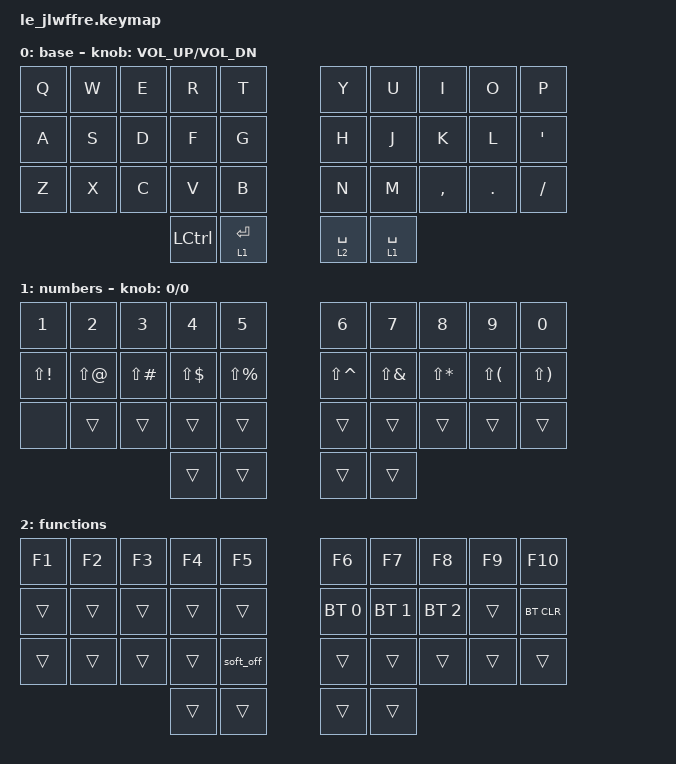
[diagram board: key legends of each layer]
/*
 * Copyright (c) 2022 The ZMK Contributors
 *
 * SPDX-License-Identifier: MIT
 */

#include <behaviors.dtsi>
#include <dt-bindings/zmk/bt.h>
#include <dt-bindings/zmk/keys.h>

/ {
    combos {
        compatible = "zmk,combos";

        combo_backspace {
            bindings = <&kp BACKSPACE>;
            key-positions = <9 8>;
        };

        combo_esc {
            bindings = <&kp ESCAPE>;
            key-positions = <0 1>;
        };

        combo_tab {
            bindings = <&kp TAB>;
            key-positions = <10 11>;
        };

        combo_ctrl_z {
            bindings = <&kp LC(Z)>;
            key-positions = <21 20>;
        };

        combo_ctrl_x {
            bindings = <&kp LC(X)>;
            key-positions = <21 22>;
        };

        combo_ctrl_c {
            bindings = <&kp LC(C)>;
            key-positions = <22 23>;
        };

        combo_ctrl_v {
            bindings = <&kp LC(V)>;
            key-positions = <23 24>;
        };

        combo_ctrl_a {
            bindings = <&kp LC(A)>;
            key-positions = <10 21>;
        };

        combo_soft_off {
            timeout-ms = <50>;
            key-positions = <0 9>;
            layers = <2>;
            bindings = <&soft_off>;
        };

        Shift {
            bindings = <&kp LEFT_SHIFT>;
            key-positions = <32 31>;
        };
    };

    keymap {
        compatible = "zmk,keymap";

        base {
            bindings = <
&kp Q      &kp W      &kp E        &kp R        &kp T  &kp Y  &kp U  &kp I      &kp O    &kp P
&kp A      &kp S      &kp D        &kp F        &kp G  &kp H  &kp J  &kp K      &kp L    &kp SQT
&kp Z      &kp X      &kp C        &kp V        &kp B  &kp N  &kp M  &kp COMMA  &kp DOT  &kp FSLH
&kp LCTRL  &lt 1 RET  &lt 2 SPACE  &lt 1 SPACE
            >;

            sensor-bindings = <&inc_dec_kp C_VOL_UP C_VOL_DN>;
        };

        numbers {
            bindings = <
&kp N1        &kp N2      &kp N3         &kp N4        &kp N5         &kp N6         &kp N7        &kp N8        &kp N9        &kp N0
&kp LS(EXCL)  &kp LS(AT)  &kp LS(POUND)  &kp LS(DLLR)  &kp LS(PRCNT)  &kp LS(CARET)  &kp LS(AMPS)  &kp LS(STAR)  &kp LS(LPAR)  &kp LS(RPAR)
&none         &trans      &trans         &trans        &trans         &trans         &trans        &trans        &trans        &trans
&trans        &trans      &trans         &trans
            >;

            sensor-bindings = <&inc_dec_kp 0 0>;
        };

        functions {
            bindings = <
&kp F1  &kp F2  &kp F3  &kp F4  &kp F5     &kp F6        &kp F7        &kp F8        &kp F9  &kp F10
&trans  &trans  &trans  &trans  &trans     &bt BT_SEL 0  &bt BT_SEL 1  &bt BT_SEL 2  &trans  &bt BT_CLR
&trans  &trans  &trans  &trans  &soft_off  &trans        &trans        &trans        &trans  &trans
&trans  &trans  &trans  &trans
            >;
        };
    };
};
